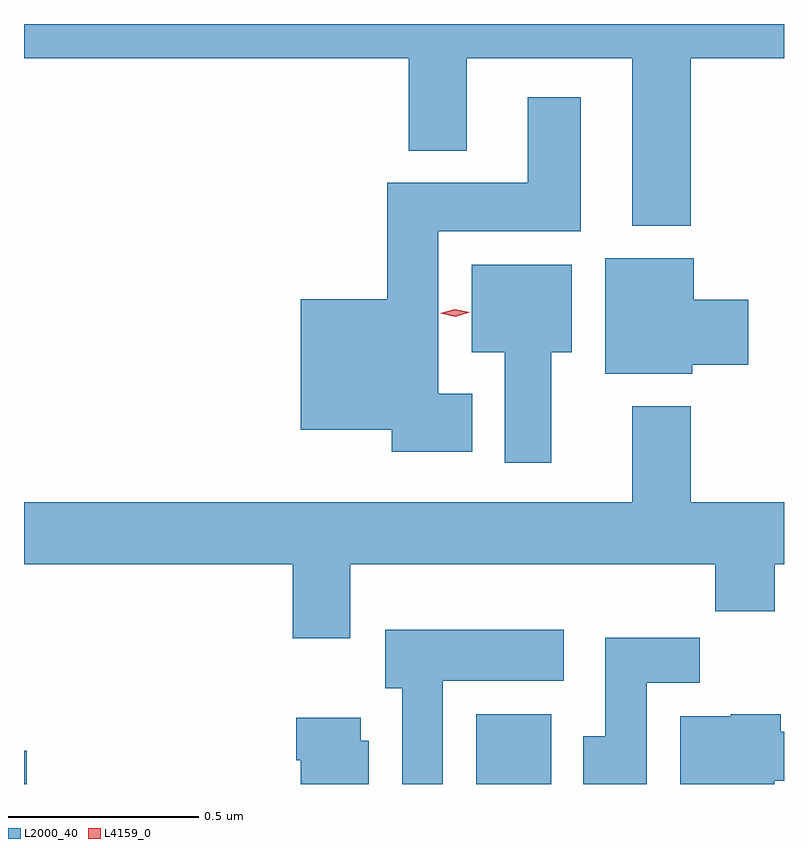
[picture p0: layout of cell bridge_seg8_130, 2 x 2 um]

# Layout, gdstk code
import gdstk
lib = gdstk.Library(unit=1e-6, precision=1e-09)
def R(c, l, rs):  # rectangles x0, y0, x1, y1
    for r in rs: c.add(gdstk.rectangle(r[:2], r[2:], *l))
def P(c, l, *ps):  # polygons
    for p in ps: c.add(gdstk.Polygon(p, *l))
L2000_40 = (2000, 40)
L4159_0 = (4159, 0)

bridge_seg8_130 = lib.new_cell('bridge_seg8_130')
R(bridge_seg8_130, L2000_40, [(729.162,1095.942,729.169,1096.029), (730.352,1095.942,730.549,1096.126)])
P(bridge_seg8_130, L2000_40, [(729.162,1097.852),(730.175,1097.852),(730.175,1097.609),(730.327,1097.609),(730.327,1097.852),(730.763,1097.852),(730.763,1097.411),(730.916,1097.411),(730.916,1097.852),(731.162,1097.852),(731.162,1097.942),(729.162,1097.942)],
  [(730.342,1096.969),(730.252,1096.969),(730.252,1097.396),(730.627,1097.396),(730.627,1097.749),(730.487,1097.749),(730.487,1097.524),(730.118,1097.524),(730.118,1097.218),(729.89,1097.218),(729.89,1096.874),(730.13,1096.874),(730.13,1096.817),(730.342,1096.817)],
  [(730.92,1097.045),(731.068,1097.045),(731.068,1097.216),(730.924,1097.216),(730.924,1097.326),(730.691,1097.326),(730.691,1097.021),(730.92,1097.021)],
  [(730.549,1097.078),(730.603,1097.078),(730.603,1097.308),(730.34,1097.308),(730.34,1097.078),(730.427,1097.078),(730.427,1096.788),(730.549,1096.788)],
  [(730.021,1096.52),(730.981,1096.52),(730.981,1096.396),(731.138,1096.396),(731.138,1096.52),(731.162,1096.52),(731.162,1096.684),(730.916,1096.684),(730.916,1096.936),(730.763,1096.936),(730.763,1096.684),(729.162,1096.684),(729.162,1096.52),(729.869,1096.52),(729.869,1096.326),(730.021,1096.326)],
  [(730.264,1096.214),(730.582,1096.214),(730.582,1096.348),(730.112,1096.348),(730.112,1096.194),(730.157,1096.194),(730.157,1095.942),(730.264,1095.942)],
  [(730.801,1096.208),(730.94,1096.208),(730.94,1096.327),(730.691,1096.327),(730.691,1096.068),(730.634,1096.068),(730.634,1095.942),(730.801,1095.942)],
  [(731.136,1095.95),(731.162,1095.95),(731.162,1096.08),(731.153,1096.08),(731.153,1096.126),(731.022,1096.126),(731.022,1096.12),(730.889,1096.12),(730.889,1095.942),(731.136,1095.942)],
  [(730.069,1096.056),(730.048,1096.056),(730.048,1096.117),(729.878,1096.117),(729.878,1096.004),(729.89,1096.004),(729.89,1095.942),(730.069,1095.942)])
P(bridge_seg8_130, L4159_0, [(730.297,1097.172),(730.258,1097.181),(730.258,1097.181),(730.258,1097.181),(730.296,1097.192),(730.335,1097.184),(730.335,1097.184),(730.335,1097.184)])

lib.write_gds('bridge_seg8_130.gds')
